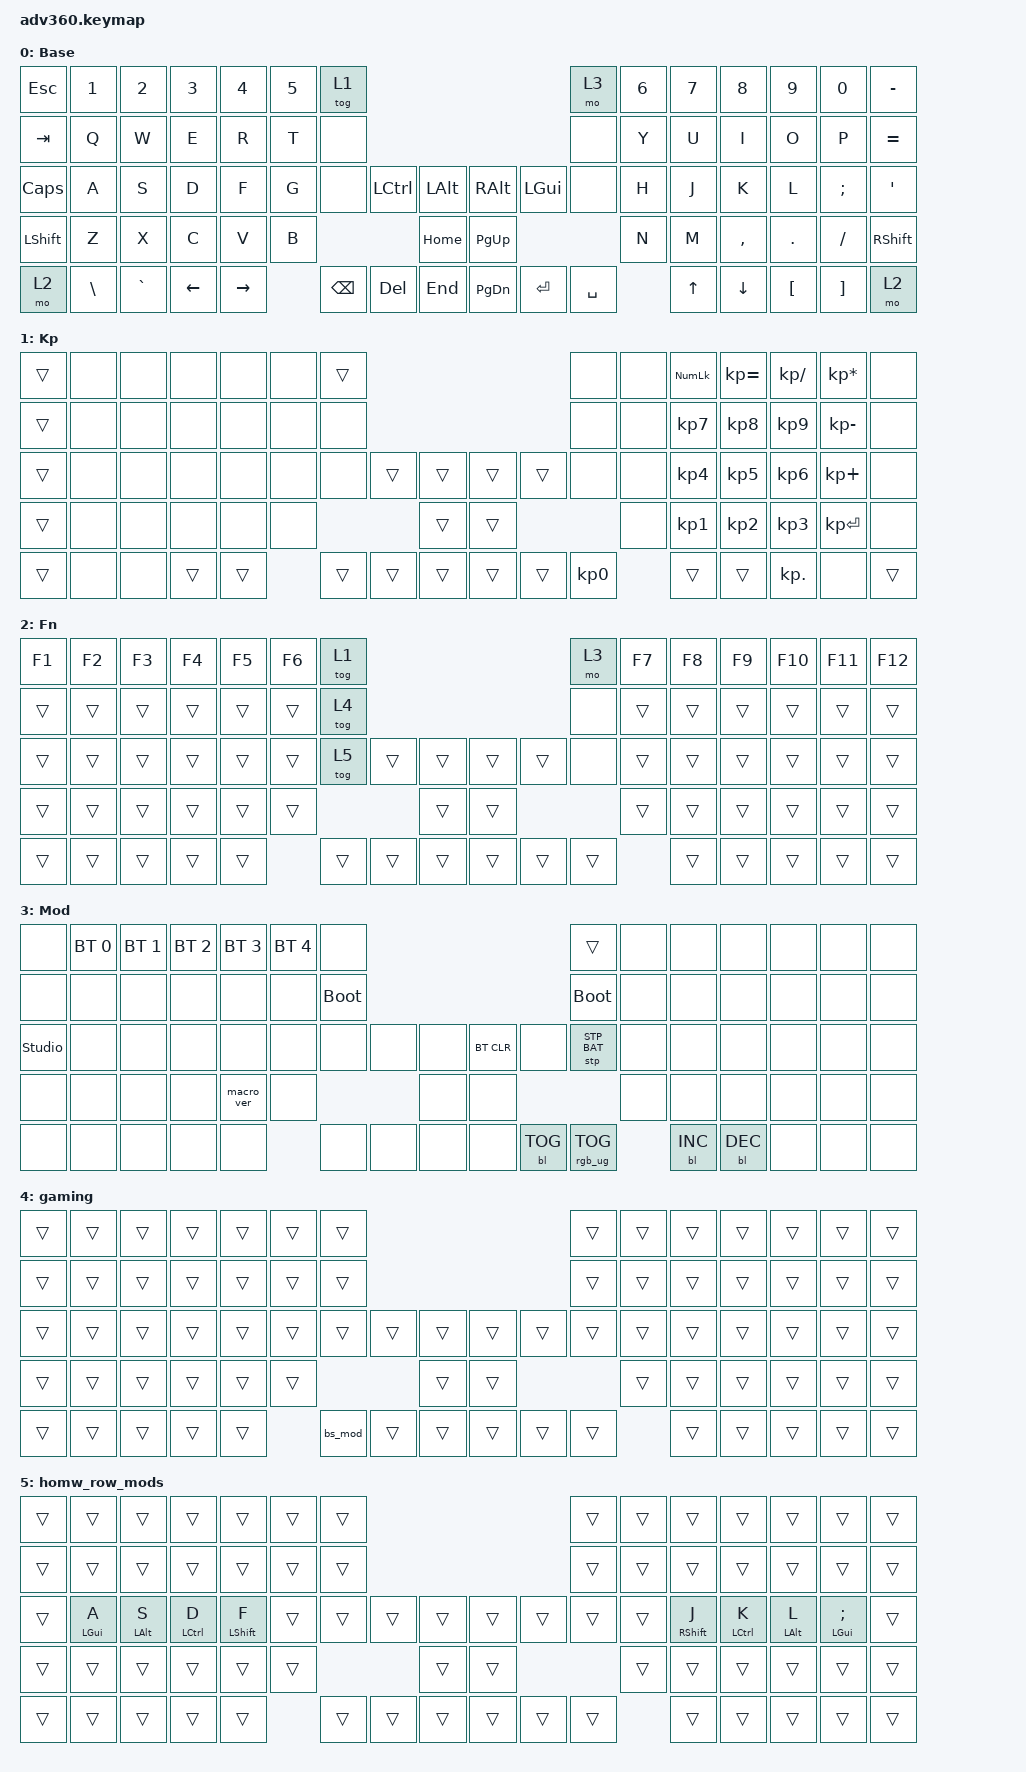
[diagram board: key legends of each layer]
#include <dt-bindings/zmk/stp.h>
#include <behaviors.dtsi>
#include <dt-bindings/zmk/backlight.h>
#include <dt-bindings/zmk/bt.h>
#include <dt-bindings/zmk/keys.h>
#include <dt-bindings/zmk/rgb.h>

/ {
    behaviors {
        #include "macros.dtsi"
      #include "version.dtsi"

        hm: homerow_mods {
            compatible = "zmk,behavior-hold-tap";
            label = "HOMEROW_MODS";
            #binding-cells = <2>;
            tapping-term-ms = <280>;
            flavor = "tap-preferred";
            bindings = <&kp>, <&kp>;

            retro-tap;
            require-prior-idle-ms = <50>;
            quick-tap-ms = <200>;
        };

        bs_mod: bs_mod {
            compatible = "zmk,behavior-mod-morph";
            label = "BS_MOD";
            bindings = <&kp SPACE>, <&kp BACKSPACE>;

            #binding-cells = <0>;
            mods = <(MOD_RSFT)>;
        };
    };

    keymap {
        compatible = "zmk,keymap";

        default_layer {
            display-name = "Base";
            bindings = <
&kp ESCAPE    &kp N1         &kp N2     &kp N3    &kp N4     &kp N5  &tog 1                                                       &mo 3      &kp N6  &kp N7  &kp N8     &kp N9    &kp N0    &kp MINUS
&kp TAB       &kp Q          &kp W      &kp E     &kp R      &kp T   &none                                                        &none      &kp Y   &kp U   &kp I      &kp O     &kp P     &kp EQUAL
&kp CAPSLOCK  &kp A          &kp S      &kp D     &kp F      &kp G   &none     &kp LCTRL  &kp LALT      &kp RIGHT_ALT  &kp LGUI   &none      &kp H   &kp J   &kp K      &kp L     &kp SEMI  &kp SQT
&kp LSHFT     &kp Z          &kp X      &kp C     &kp V      &kp B                        &kp HOME      &kp PG_UP                            &kp N   &kp M   &kp COMMA  &kp DOT   &kp FSLH  &kp RSHFT
&mo 2         &kp BACKSLASH  &kp GRAVE  &kp LEFT  &kp RIGHT          &kp BSPC  &kp DEL    &kp END       &kp PG_DN      &kp ENTER  &kp SPACE          &kp UP  &kp DOWN   &kp LBKT  &kp RBKT  &mo 2
            >;
        };

        keypad {
            display-name = "Kp";
            bindings = <
&trans  &none  &none  &none   &none   &none  &trans                                      &none      &none  &kp KP_NUM  &kp KP_EQUAL  &kp KP_DIVIDE  &kp KP_MULTIPLY  &none
&trans  &none  &none  &none   &none   &none  &none                                       &none      &none  &kp KP_N7   &kp KP_N8     &kp KP_N9      &kp KP_MINUS     &none
&trans  &none  &none  &none   &none   &none  &none   &trans  &trans      &trans  &trans  &none      &none  &kp KP_N4   &kp KP_N5     &kp KP_N6      &kp KP_PLUS      &none
&trans  &none  &none  &none   &none   &none                  &trans      &trans                     &none  &kp KP_N1   &kp KP_N2     &kp KP_N3      &kp KP_ENTER     &none
&trans  &none  &none  &trans  &trans         &trans  &trans  &trans      &trans  &trans  &kp KP_N0         &trans      &trans        &kp KP_DOT     &none            &trans
            >;
        };

        fn {
            display-name = "Fn";
            bindings = <
&kp F1  &kp F2  &kp F3  &kp F4  &kp F5  &kp F6  &tog 1                                      &mo 3   &kp F7  &kp F8  &kp F9  &kp F10  &kp F11  &kp F12
&trans  &trans  &trans  &trans  &trans  &trans  &tog 4                                      &none   &trans  &trans  &trans  &trans   &trans   &trans
&trans  &trans  &trans  &trans  &trans  &trans  &tog 5  &trans  &trans      &trans  &trans  &none   &trans  &trans  &trans  &trans   &trans   &trans
&trans  &trans  &trans  &trans  &trans  &trans                  &trans      &trans                  &trans  &trans  &trans  &trans   &trans   &trans
&trans  &trans  &trans  &trans  &trans          &trans  &trans  &trans      &trans  &trans  &trans          &trans  &trans  &trans   &trans   &trans
            >;
        };

        mod {
            display-name = "Mod";
            bindings = <
&none           &bt BT_SEL 0  &bt BT_SEL 1  &bt BT_SEL 2  &bt BT_SEL 3  &bt BT_SEL 4  &none                                                  &trans           &none  &none       &none       &none  &none  &none
&none           &none         &none         &none         &none         &none         &bootloader                                            &bootloader      &none  &none       &none       &none  &none  &none
&studio_unlock  &none         &none         &none         &none         &none         &none        &none  &none      &bt BT_CLR  &none       &stp STP_BAT     &none  &none       &none       &none  &none  &none
&none           &none         &none         &none         &macro_ver    &none                             &none      &none                                    &none  &none       &none       &none  &none  &none
&none           &none         &none         &none         &none                       &none        &none  &none      &none       &bl BL_TOG  &rgb_ug RGB_TOG         &bl BL_INC  &bl BL_DEC  &none  &none  &none
            >;
        };

        gaming {
            bindings = <
&trans  &trans  &trans  &trans  &trans  &trans  &trans                                       &trans  &trans  &trans  &trans  &trans  &trans  &trans
&trans  &trans  &trans  &trans  &trans  &trans  &trans                                       &trans  &trans  &trans  &trans  &trans  &trans  &trans
&trans  &trans  &trans  &trans  &trans  &trans  &trans   &trans  &trans      &trans  &trans  &trans  &trans  &trans  &trans  &trans  &trans  &trans
&trans  &trans  &trans  &trans  &trans  &trans                   &trans      &trans                  &trans  &trans  &trans  &trans  &trans  &trans
&trans  &trans  &trans  &trans  &trans          &bs_mod  &trans  &trans      &trans  &trans  &trans          &trans  &trans  &trans  &trans  &trans
            >;
        };

        homw_row_mods {
            bindings = <
&trans  &trans      &trans          &trans       &trans            &trans  &trans                                      &trans  &trans  &trans             &trans       &trans          &trans              &trans
&trans  &trans      &trans          &trans       &trans            &trans  &trans                                      &trans  &trans  &trans             &trans       &trans          &trans              &trans
&trans  &hm LGUI A  &hm LEFT_ALT S  &hm LCTRL D  &hm LEFT_SHIFT F  &trans  &trans  &trans  &trans      &trans  &trans  &trans  &trans  &hm RIGHT_SHIFT J  &hm LCTRL K  &hm LEFT_ALT L  &hm LGUI SEMICOLON  &trans
&trans  &trans      &trans          &trans       &trans            &trans                  &trans      &trans                  &trans  &trans             &trans       &trans          &trans              &trans
&trans  &trans      &trans          &trans       &trans                    &trans  &trans  &trans      &trans  &trans  &trans          &trans             &trans       &trans          &trans              &trans
            >;
        };
    };
};
